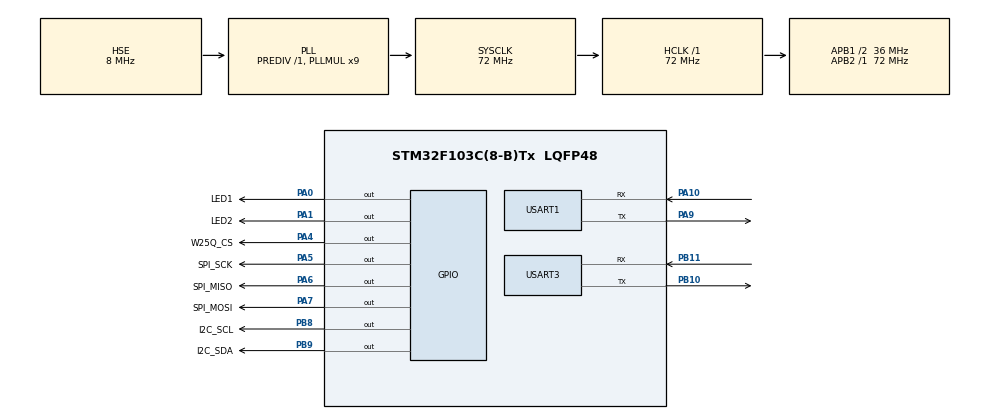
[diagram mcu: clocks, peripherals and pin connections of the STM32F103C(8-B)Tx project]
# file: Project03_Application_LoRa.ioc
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Dma.Request0=USART3_RX
Dma.USART3_RX.0.Direction=DMA_PERIPH_TO_MEMORY
Dma.USART3_RX.0.Instance=DMA1_Channel3
Dma.USART3_RX.0.MemDataAlignment=DMA_MDATAALIGN_BYTE
Dma.USART3_RX.0.MemInc=DMA_MINC_ENABLE
Dma.USART3_RX.0.Mode=DMA_NORMAL
Dma.USART3_RX.0.PeriphDataAlignment=DMA_PDATAALIGN_BYTE
Dma.USART3_RX.0.PeriphInc=DMA_PINC_DISABLE
Dma.USART3_RX.0.Priority=DMA_PRIORITY_LOW
Mcu.Family=STM32F1
Mcu.Name=STM32F103C(8-B)Tx
Mcu.Package=LQFP48
NVIC.DMA1_Channel3_IRQn=true\:4\:0\:true\:false\:true\:false\:true\:true
NVIC.PriorityGroup=NVIC_PRIORITYGROUP_4
NVIC.USART3_IRQn=true\:4\:0\:true\:false\:true\:true\:true\:true
PA0-WKUP.GPIO_Label=LED1
PA0-WKUP.GPIO_Speed=GPIO_SPEED_FREQ_HIGH
PA0-WKUP.PinState=GPIO_PIN_SET
PA0-WKUP.Signal=GPIO_Output
PA1.GPIO_Label=LED2
PA1.GPIO_Speed=GPIO_SPEED_FREQ_HIGH
PA1.PinState=GPIO_PIN_SET
PA1.Signal=GPIO_Output
PA10.Mode=Asynchronous
PA10.Signal=USART1_RX
PA13.Mode=Serial_Wire
PA13.Signal=SYS_JTMS-SWDIO
PA14.Mode=Serial_Wire
PA14.Signal=SYS_JTCK-SWCLK
PA4.GPIO_Label=W25Q_CS
PA4.GPIO_Speed=GPIO_SPEED_FREQ_HIGH
PA4.PinState=GPIO_PIN_SET
PA4.Signal=GPIO_Output
PA5.GPIO_Label=SPI_SCK
PA5.GPIO_Speed=GPIO_SPEED_FREQ_HIGH
PA5.PinState=GPIO_PIN_SET
PA5.Signal=GPIO_Output
PA6.GPIO_Label=SPI_MISO
PA6.GPIO_Speed=GPIO_SPEED_FREQ_HIGH
PA6.PinState=GPIO_PIN_SET
PA6.Signal=GPIO_Output
PA7.GPIO_Label=SPI_MOSI
PA7.GPIO_Speed=GPIO_SPEED_FREQ_HIGH
PA7.PinState=GPIO_PIN_SET
PA7.Signal=GPIO_Output
PA9.Mode=Asynchronous
PA9.Signal=USART1_TX
PB10.Mode=Asynchronous
PB10.Signal=USART3_TX
PB11.Mode=Asynchronous
PB11.Signal=USART3_RX
PB8.GPIO_Label=I2C_SCL
PB8.GPIO_Speed=GPIO_SPEED_FREQ_HIGH
PB8.PinState=GPIO_PIN_SET
PB8.Signal=GPIO_Output
PB9.GPIO_Label=I2C_SDA
PB9.GPIO_Speed=GPIO_SPEED_FREQ_HIGH
PB9.PinState=GPIO_PIN_SET
PB9.Signal=GPIO_Output
PC14-OSC32_IN.Mode=LSE-External-Oscillator
PC14-OSC32_IN.Signal=RCC_OSC32_IN
PC15-OSC32_OUT.Mode=LSE-External-Oscillator
PC15-OSC32_OUT.Signal=RCC_OSC32_OUT
PD0-OSC_IN.Mode=HSE-External-Oscillator
PD0-OSC_IN.Signal=RCC_OSC_IN
PD1-OSC_OUT.Mode=HSE-External-Oscillator
PD1-OSC_OUT.Signal=RCC_OSC_OUT
ProjectManager.HeapSize=0x200
ProjectManager.StackSize=0x400
ProjectManager.TargetToolchain=MDK-ARM V5.32
RCC.AHBFreq_Value=72000000
RCC.APB1CLKDivider=RCC_HCLK_DIV2
RCC.APB1Freq_Value=36000000
RCC.APB1TimFreq_Value=72000000
RCC.APB2Freq_Value=72000000
RCC.APB2TimFreq_Value=72000000
RCC.HCLKFreq_Value=72000000
RCC.PLLMUL=RCC_PLL_MUL9
RCC.PLLSourceVirtual=RCC_PLLSOURCE_HSE
RCC.SYSCLKFreq_VALUE=72000000
RCC.SYSCLKSource=RCC_SYSCLKSOURCE_PLLCLK
RCC.USBFreq_Value=72000000
USART1.VirtualMode=VM_ASYNC
USART3.VirtualMode=VM_ASYNC
VP_CRC_VS_CRC.Mode=CRC_Activate
board=custom

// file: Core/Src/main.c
/* USER CODE BEGIN Header */
/**
  ******************************************************************************
  * @file           : main.c
  * @brief          : Main program body
  ******************************************************************************
  * @attention
  *
  * Copyright (c) 2026 STMicroelectronics.
  * All rights reserved.
  *
  * This software is licensed under terms that can be found in the LICENSE file
  * in the root directory of this software component.
  * If no LICENSE file comes with this software, it is provided AS-IS.
  *
  ******************************************************************************
  */
/* USER CODE END Header */
#include "main.h"
#include "crc.h"
#include "dma.h"
#include "usart.h"
#include "gpio.h"

/* USER CODE BEGIN Includes */
#include "stm32f1xx_hal.h"          /* HAL 库头文件，用于 GPIO、UART 等外设操作 */
#include "lora_buf.h"               /* LoRa 串口帧缓冲层，提供 DMA+IDLE 帧接收队列 */
#include "lora_proto.h"             /* LoRa OTA 协议定义（UPDATE_REQ/DATA/END 等帧类型） */
#include "bsp_soft_spi.h"           /* 软件 SPI 驱动，用于与 W25Q16 SPI Flash 通信 */
#include "bsp_soft_i2c.h"           /* 软件 I2C 驱动，用于与 AT24C02 EEPROM 通信 */
#include "w25q16.h"                 /* W25Q16 外部 SPI Flash 驱动，OTA 固件临时存储 */
#include "at24c02.h"                /* AT24C02 EEPROM 驱动，存储 OTA 更新标志和固件元数据 */
#include "ota_storage.h"            /* OTA 存储管理层，协调 W25Q16 写入和 EEPROM 标志写入 */
#include "app_ota_update.h"         /* 应用层 OTA 状态机，驱动整个 LoRa 固件接收流程 */
#include <stdio.h>                  /* printf 支持，通过 fputc 重定向到 USART1 输出调试日志 */
/* USER CODE END Includes */

/* USER CODE BEGIN PV */
static LORA_Buf_t lora_ctx;        /* LoRa 串口帧缓冲上下文，管理 USART3 DMA 接收和帧队列 */
static W25Q16_t   w25q_dev;        /* W25Q16 SPI Flash 设备句柄，OTA 期间暂存接收到的固件数据 */
static AT24C02_t  eeprom_dev;      /* AT24C02 EEPROM 设备句柄，存储 Bootloader 更新标志（掉电安全） */
static APP_OTA_t  ota_ctx;         /* OTA 更新状态机上下文，驱动固件接收、CRC 校验、EEPROM 写入 */
/* USER CODE END PV */

void SystemClock_Config(void);

int main(void)
{

  /* MCU Configuration--------------------------------------------------------*/

  /* Reset of all peripherals, Initializes the Flash interface and the Systick. */
  HAL_Init();

  /* Configure the system clock */
  SystemClock_Config();

  /* Initialize all configured peripherals */
  MX_GPIO_Init();
  MX_DMA_Init();
  MX_USART1_UART_Init();
  MX_USART3_UART_Init();
  MX_CRC_Init();
  /* USER CODE BEGIN 2 */

  /*
   * 清除 Bootloader 残留的 NVIC 中断使能和挂起标志
   *
   * 原因：Bootloader 跳转到 App 之前调用了 __disable_irq() 关闭全局中断，
   * 但只是关闭了总闸，并没有清除各个 NVIC 通道的使能位（ICER）和挂起标志（ICPR）。
   * 如果不清理，App 开中断后这些残留中断会立即触发，导致不可预期的行为。
   * 这里通过写全 1 到 ICER（禁止使能）和 ICPR（清除挂起）寄存器来全量清理。
   * STM32F103 有 60 个中断通道，对应 2 个 32 位寄存器（通道 0~59）。
   */
  for (uint32_t i = 0; i < 2; i++) {
      NVIC->ICER[i] = 0xFFFFFFFF;   /* 禁止所有 NVIC 通道使能 */
      NVIC->ICPR[i] = 0xFFFFFFFF;   /* 清除所有 NVIC 通道挂起标志 */
  }
  __enable_irq();                    /* 全局中断已安全清理，重新打开中断 */

  /*
   * LED 初始化为熄灭状态（高电平 = 熄灭，低电平 = 点亮）
   * GPIO 已在 MX_GPIO_Init() 中配置为推挽输出，这里设置初始电平
   */
  HAL_GPIO_WritePin(LED1_GPIO_Port, LED1_Pin, GPIO_PIN_SET);
  HAL_GPIO_WritePin(LED2_GPIO_Port, LED2_Pin, GPIO_PIN_SET);

  printf("[APP] main() reached, all MX_init done\r\n");

  /*
   * LoRa 串口帧缓冲初始化
   * 绑定 USART3 句柄到帧缓冲上下文，启动 DMA Normal 模式 + IDLE 接收
   * 后续 LoRa 协议帧通过 lora_ctx 帧队列消费
   */
  LORA_Buf_Init(&lora_ctx, &huart3);
  printf("[APP] LORA_Buf_Init done\r\n");

  /*
   * 外部存储外设初始化
   * - 软件 SPI：W25Q16 的通信总线（PA4=CS, PA5=SCK, PA6=MISO, PA7=MOSI）
   * - 软件 I2C：AT24C02 的通信总线（PB8=SCL, PB9=SDA）
   * - W25Q16：OTA 固件临时存储，接收完成后 Bootloader 从此搬运到内部 Flash
   * - AT24C02：存储 OTA 更新标志（状态字节 + 有效性密钥 + 固件大小 + CRC32）
   */
  BSP_SoftSPI_Init();
  BSP_SoftI2C_Init();
  W25Q16_Init(&w25q_dev, &spi1_bus, W25Q_CS_PORT, W25Q_CS_PIN);
  AT24C02_Init(&eeprom_dev, &i2c1_bus, AT24C02_ADDR);
  printf("[APP] W25Q16 + AT24C02 init done\r\n");

  /* 读取 W25Q16 JEDEC ID 验证 SPI 通信和芯片连接是否正常（期望值 0xEF4015） */
  uint32_t jedec_id = W25Q16_ReadJEDECID(&w25q_dev);
  printf("[APP] W25Q16 JEDEC ID: 0x%06lX\r\n", jedec_id);

  /*
   * OTA 状态机初始化
   * 绑定 LoRa 帧缓冲、W25Q16 和 EEPROM 句柄到 OTA 上下文
   * 状态机初始处于空闲状态，等待 LoRa UPDATE_REQ 帧触发更新流程
   */
  APP_OTA_Init(&ota_ctx, &lora_ctx, &w25q_dev, &eeprom_dev);
  printf("[APP] OTA module init done\r\n");
  /* USER CODE END 2 */

  /* Infinite loop */
  while (1)
  {

    /* USER CODE BEGIN 3 */

    /*
     * LED1 翻转：作为心跳指示，每轮循环切换一次状态
     * 如果 LED 停止闪烁，说明主循环被阻塞或程序跑飞
     */
    HAL_GPIO_TogglePin(LED1_GPIO_Port, LED1_Pin);

    /*
     * OTA 状态机轮询处理
     * 每轮循环从 LoRa 帧队列消费数据，驱动 OTA 状态转移：
     * IDLE -> RECV_DATA -> VERIFY -> DONE
     * 主循环不能有阻塞延时（HAL_Delay），否则会丢帧
     */
    APP_OTA_Process(&ota_ctx);
  }
  /* USER CODE END 3 */
}

void SystemClock_Config(void)
{
  RCC_OscInitTypeDef RCC_OscInitStruct = {0};
  RCC_ClkInitTypeDef RCC_ClkInitStruct = {0};

  /** Initializes the RCC Oscillators according to the specified parameters
  * in the RCC_OscInitTypeDef structure.
  */
  RCC_OscInitStruct.OscillatorType = RCC_OSCILLATORTYPE_HSE;
  RCC_OscInitStruct.HSEState = RCC_HSE_ON;
  RCC_OscInitStruct.HSEPredivValue = RCC_HSE_PREDIV_DIV1;
  RCC_OscInitStruct.HSIState = RCC_HSI_ON;
  RCC_OscInitStruct.PLL.PLLState = RCC_PLL_ON;
  RCC_OscInitStruct.PLL.PLLSource = RCC_PLLSOURCE_HSE;
  RCC_OscInitStruct.PLL.PLLMUL = RCC_PLL_MUL9;
  if (HAL_RCC_OscConfig(&RCC_OscInitStruct) != HAL_OK)
  {
    Error_Handler();
  }

  /** Initializes the CPU, AHB and APB buses clocks
  */
  RCC_ClkInitStruct.ClockType = RCC_CLOCKTYPE_HCLK|RCC_CLOCKTYPE_SYSCLK
                              |RCC_CLOCKTYPE_PCLK1|RCC_CLOCKTYPE_PCLK2;
  RCC_ClkInitStruct.SYSCLKSource = RCC_SYSCLKSOURCE_PLLCLK;
  RCC_ClkInitStruct.AHBCLKDivider = RCC_SYSCLK_DIV1;
  RCC_ClkInitStruct.APB1CLKDivider = RCC_HCLK_DIV2;
  RCC_ClkInitStruct.APB2CLKDivider = RCC_HCLK_DIV1;

  if (HAL_RCC_ClockConfig(&RCC_ClkInitStruct, FLASH_LATENCY_2) != HAL_OK)
  {
    Error_Handler();
  }
}

void Error_Handler(void)
{
  __disable_irq();
  while (1)
  {
  }
}
